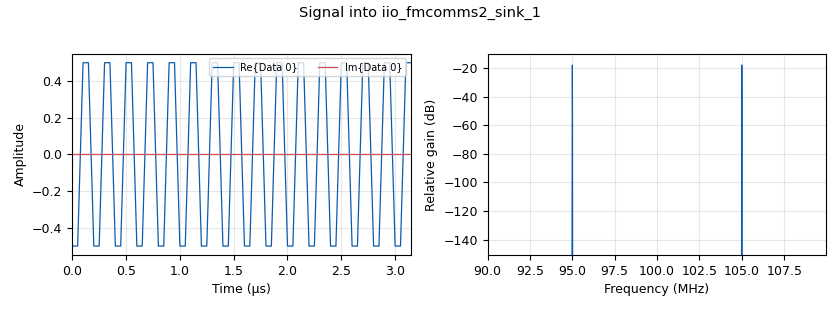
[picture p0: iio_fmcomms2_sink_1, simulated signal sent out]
<?xml version='1.0' encoding='utf-8'?>
<?grc format='1' created='3.7.11'?>
<flow_graph>
<block>
<key>options</key>
<param><key>id</key><value>top_block</value></param>
<param><key>generate_options</key><value>wx_gui</value></param>
</block>
<block>
<key>variable</key>
<param><key>id</key><value>LO_freq</value></param>
<param><key>value</key><value>100e6</value></param>
</block>
<block>
<key>variable</key>
<param><key>id</key><value>bw</value></param>
<param><key>value</key><value>5e6</value></param>
</block>
<block>
<key>variable</key>
<param><key>id</key><value>samp_rate</value></param>
<param><key>value</key><value>20e6</value></param>
</block>
<block>
<key>analog_fastnoise_source_x</key>
<param><key>id</key><value>analog_fastnoise_source_x_0</value></param>
<param><key>amp</key><value>1</value></param>
<param><key>_enabled</key><value>0</value></param>
<param><key>noise_type</key><value>analog.GR_GAUSSIAN</value></param>
<param><key>type</key><value>complex</value></param>
<param><key>seed</key><value>0</value></param>
<param><key>samples</key><value>8192</value></param>
</block>
<block>
<key>analog_sig_source_x</key>
<param><key>id</key><value>analog_sig_source_x_0</value></param>
<param><key>amp</key><value>1</value></param>
<param><key>freq</key><value>5e6</value></param>
<param><key>offset</key><value>-0.5</value></param>
<param><key>type</key><value>float</value></param>
<param><key>samp_rate</key><value>samp_rate</value></param>
<param><key>waveform</key><value>analog.GR_SQR_WAVE</value></param>
</block>
<block>
<key>blocks_float_to_complex</key>
<param><key>id</key><value>blocks_float_to_complex_0</value></param>
</block>
<block>
<key>iio_fmcomms2_sink</key>
<param><key>id</key><value>iio_fmcomms2_sink_1</value></param>
<param><key>buffer_size</key><value>0x8000</value></param>
<param><key>cyclic</key><value>False</value></param>
<param><key>auto_filter</key><value>True</value></param>
<param><key>uri</key><value>uri_sink</value></param>
<param><key>frequency</key><value>LO_freq</value></param>
<param><key>rf_port_select</key><value>"A"</value></param>
<param><key>bandwidth</key><value>bw</value></param>
<param><key>samplerate</key><value>samp_rate</value></param>
<param><key>tx1_en</key><value>True</value></param>
<param><key>tx2_en</key><value>False</value></param>
</block>
<block>
<key>iio_fmcomms5_source</key>
<param><key>id</key><value>iio_fmcomms5_source_0</value></param>
<param><key>bbdc</key><value>True</value></param>
<param><key>buffer_size</key><value>0x8000</value></param>
<param><key>ch1_en</key><value>True</value></param>
<param><key>ch2_en</key><value>False</value></param>
<param><key>ch3_en</key><value>False</value></param>
<param><key>ch4_en</key><value>False</value></param>
<param><key>filter</key><value></value></param>
<param><key>gain1</key><value>"manual"</value></param>
<param><key>gain2</key><value>"manual"</value></param>
<param><key>gain3</key><value>"manual"</value></param>
<param><key>gain4</key><value>"manual"</value></param>
<param><key>uri</key><value>uri_sink</value></param>
<param><key>frequency1</key><value>LO_freq</value></param>
<param><key>frequency2</key><value>LO_freq</value></param>
<param><key>manual_gain1</key><value>64.0</value></param>
<param><key>manual_gain2</key><value>64.0</value></param>
<param><key>manual_gain3</key><value>64.0</value></param>
<param><key>manual_gain4</key><value>64.0</value></param>
<param><key>quadrature</key><value>True</value></param>
<param><key>rfdc</key><value>True</value></param>
<param><key>rf_port_select</key><value>"A_BALANCED"</value></param>
<param><key>bandwidth</key><value>bw</value></param>
<param><key>samplerate</key><value>samp_rate</value></param>
</block>
<block>
<key>notebook</key>
<param><key>id</key><value>notebook_0</value></param>
<param><key>labels</key><value>['FFT', 'Time']</value></param>
<param><key>style</key><value>wx.NB_TOP</value></param>
</block>
<block>
<key>parameter</key>
<param><key>id</key><value>uri_sink</value></param>
<param><key>label</key><value>URI</value></param>
<param><key>type</key><value>string</value></param>
<param><key>value</key><value>'ip:192.168.0.41'</value></param>
</block>
<block>
<key>parameter</key>
<param><key>id</key><value>uri_source</value></param>
<param><key>label</key><value>URI</value></param>
<param><key>type</key><value>string</value></param>
<param><key>value</key><value>'ip:192.168.0.97'</value></param>
</block>
<block>
<key>wxgui_fftsink2</key>
<param><key>id</key><value>wxgui_fftsink2_0</value></param>
<param><key>avg_alpha</key><value>0</value></param>
<param><key>average</key><value>False</value></param>
<param><key>baseband_freq</key><value>0</value></param>
<param><key>fft_size</key><value>1024</value></param>
<param><key>freqvar</key><value>None</value></param>
<param><key>peak_hold</key><value>False</value></param>
<param><key>ref_level</key><value>0</value></param>
<param><key>ref_scale</key><value>2.0</value></param>
<param><key>fft_rate</key><value>15</value></param>
<param><key>samp_rate</key><value>samp_rate</value></param>
<param><key>title</key><value>FFT Plot</value></param>
<param><key>type</key><value>complex</value></param>
<param><key>win</key><value>None</value></param>
<param><key>y_divs</key><value>10</value></param>
<param><key>y_per_div</key><value>10</value></param>
</block>
<connection><source_block_id>analog_fastnoise_source_x_0</source_block_id><sink_block_id>iio_fmcomms2_sink_1</sink_block_id><source_key>0</source_key><sink_key>0</sink_key></connection>
<connection><source_block_id>analog_sig_source_x_0</source_block_id><sink_block_id>blocks_float_to_complex_0</sink_block_id><source_key>0</source_key><sink_key>0</sink_key></connection>
<connection><source_block_id>blocks_float_to_complex_0</source_block_id><sink_block_id>iio_fmcomms2_sink_1</sink_block_id><source_key>0</source_key><sink_key>0</sink_key></connection>
<connection><source_block_id>iio_fmcomms5_source_0</source_block_id><sink_block_id>wxgui_fftsink2_0</sink_block_id><source_key>0</source_key><sink_key>0</sink_key></connection>
</flow_graph>
